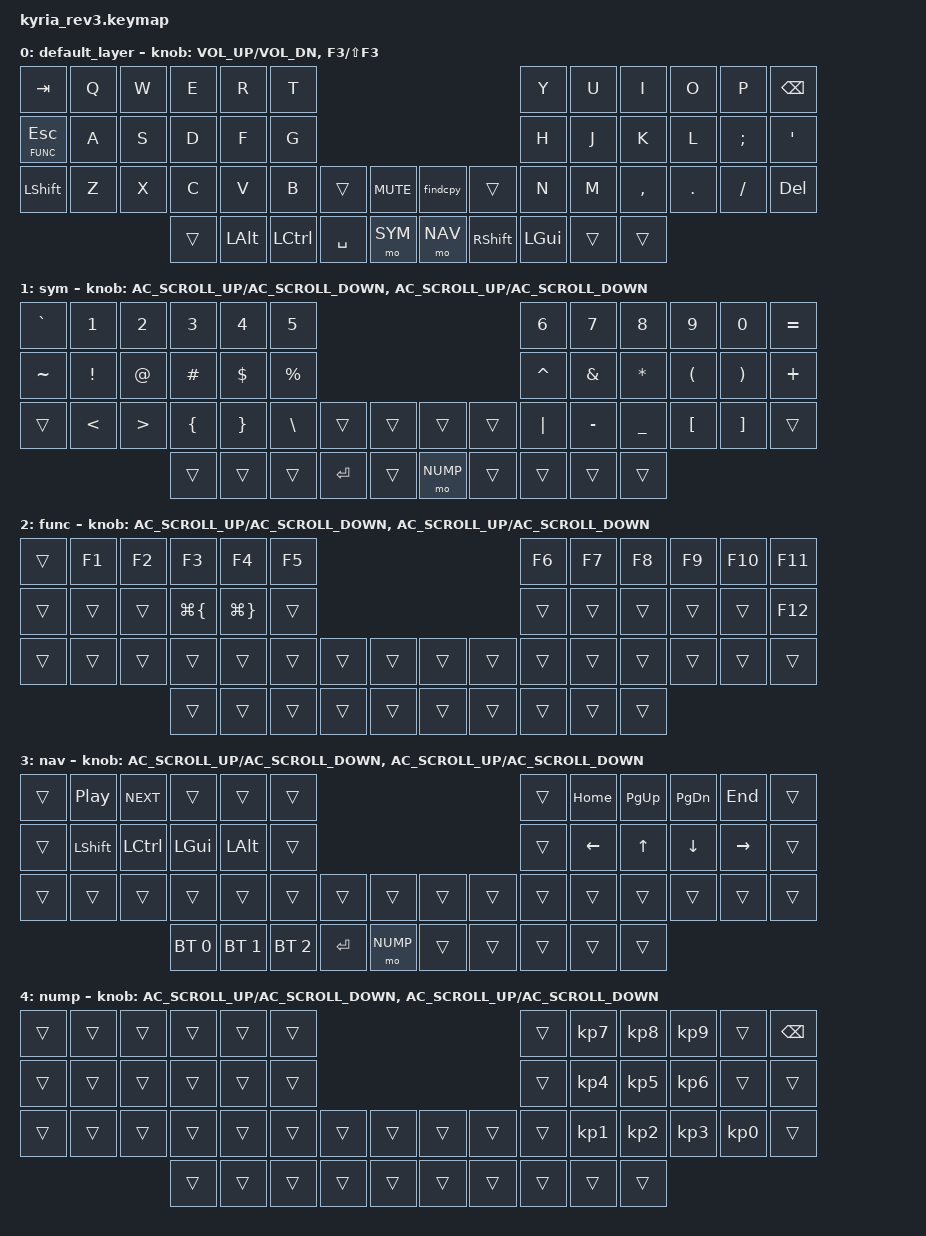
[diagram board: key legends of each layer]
/*
 * Copyright (c) 2023 The ZMK Contributors
 *
 * SPDX-License-Identifier: MIT
 */

#include <behaviors.dtsi>
#include <dt-bindings/zmk/keys.h>
#include <dt-bindings/zmk/bt.h>

#define DEFAULT 0
#define SYM 1
#define FUNC 2
#define NAV 3
#define NUMP 4


// Prevent the encoders from jumping twice
&left_encoder {
    steps = <38>;
};
//&right_encoder { resolution = <8>; };

/ {
    macros {
        // Control + C, F, V --> select, press, profit!
        // Note: default wait time is 100ms, which should work out fine
        findcpy: findcpy {
            label = "Copy-Find-Paste";
            compatible = "zmk,behavior-macro";
            #binding-cells = <0>;
            bindings
                = <&macro_tap &kp LC(C)>
                , <&macro_tap &kp LC(F)>
                , <&macro_tap &kp LC(V)>
                ;
        };
    };

    keymap {
        compatible = "zmk,keymap";

        default_layer {
            bindings = <
        // ╭───────────┬───────────┬───────────┬───────────┬───────────┬───────────╮                                                       ╭───────────┬───────────┬───────────┬───────────┬───────────┬───────────╮
            &kp TAB     &kp Q       &kp W       &kp E       &kp R       &kp T                                                               &kp Y       &kp U       &kp I       &kp O       &kp P       &kp BACKSPACE
        // ├───────────┼───────────┼───────────┼───────────┼───────────┼───────────┤                                                       ├───────────┼───────────┼───────────┼───────────┼───────────┼───────────┤
            &lt FUNC ESC &kp A      &kp S       &kp D       &kp F       &kp G                                                               &kp H       &kp J       &kp K       &kp L       &kp SEMI    &kp SINGLE_QUOTE
        // ├───────────┼───────────┼───────────┼───────────┼───────────┼───────────┼───────────┬───────────╮       ╭───────────┬───────────┼───────────┼───────────┼───────────┼───────────┼───────────┼───────────┤
            &kp LSHIFT  &kp Z       &kp X       &kp C       &kp V       &kp B       &trans      &kp C_MUTE          &findcpy    &trans      &kp N       &kp M       &kp COMMA   &kp DOT     &kp SLASH   &kp DELETE
        // ╰───────────┴───────────┴───────────┼───────────┼───────────┼───────────┼───────────┼───────────┤       ├───────────┼───────────┼───────────┼───────────┼───────────┼───────────┴───────────┴───────────╯
                                                &trans      &kp LALT    &kp LCTRL   &kp SPACE   &mo SYM             &mo NAV     &kp RSHIFT  &kp LGUI    &trans      &trans
        //                                     ╰───────────┴───────────┴───────────┴───────────┴───────────╯       ╰───────────┴───────────┴───────────┴───────────┴───────────╯
            >;

            // Invert for L only
            // Left: Volume up / down, Right: F3 / Shift F3
            sensor-bindings = <&inc_dec_kp C_VOL_UP C_VOL_DN &inc_dec_kp F3 LS(F3)>;
        };

        sym {
          bindings = <
        // ╭───────────┬───────────┬───────────┬───────────┬───────────┬───────────╮                                                       ╭───────────┬───────────┬───────────┬───────────┬───────────┬───────────╮
            &kp GRAVE   &kp N1      &kp N2      &kp N3      &kp N4      &kp N5                                                              &kp N6      &kp N7      &kp N8      &kp N9      &kp N0      &kp EQUAL
        // ├───────────┼───────────┼───────────┼───────────┼───────────┼───────────┤                                                       ├───────────┼───────────┼───────────┼───────────┼───────────┼───────────┤
            &kp TILDE   &kp EXCL    &kp AT      &kp HASH    &kp DOLLAR  &kp PERCENT                                                         &kp CARET   &kp AMPS    &kp ASTRK   &kp LPAR    &kp RPAR    &kp PLUS
        // ├───────────┼───────────┼───────────┼───────────┼───────────┼───────────┼───────────┬───────────╮       ╭───────────┬───────────┼───────────┼───────────┼───────────┼───────────┼───────────┼───────────┤
            &trans      &kp LT      &kp GT      &kp LBRC    &kp RBRC    &kp BSLH    &trans      &trans              &trans      &trans      &kp PIPE    &kp MINUS   &kp UNDER   &kp LBKT    &kp RBKT    &trans
        // ╰───────────┴───────────┴───────────┼───────────┼───────────┼───────────┼───────────┼───────────┤       ├───────────┼───────────┼───────────┼───────────┼───────────┼───────────┴───────────┴───────────╯
                                                &trans      &trans      &trans      &kp ENTER   &trans              &mo NUMP    &trans      &trans      &trans      &trans
        //                                     ╰───────────┴───────────┴───────────┴───────────┴───────────╯       ╰───────────┴───────────┴───────────┴───────────┴───────────╯
          >;
            // Scroll up/down
            sensor-bindings = <&inc_dec_kp C_AC_SCROLL_UP C_AC_SCROLL_DOWN &inc_dec_kp C_AC_SCROLL_UP C_AC_SCROLL_DOWN>;
        };
        
        func {
          bindings = <
        // ╭───────────┬───────────┬───────────┬───────────┬───────────┬───────────╮                                                       ╭───────────┬───────────┬───────────┬───────────┬───────────┬───────────╮
            &trans      &kp F1      &kp F2      &kp F3      &kp F4      &kp F5                                                              &kp F6      &kp F7      &kp F8      &kp F9      &kp F10      &kp F11
        // ├───────────┼───────────┼───────────┼───────────┼───────────┼───────────┤                                                       ├───────────┼───────────┼───────────┼───────────┼───────────┼───────────┤
            &trans      &trans      &trans      &kp LG(LBRC) &kp LG(RBRC) &trans                                                            &trans      &trans      &trans      &trans      &trans      &kp F12
        // ├───────────┼───────────┼───────────┼───────────┼───────────┼───────────┼───────────┬───────────╮       ╭───────────┬───────────┼───────────┼───────────┼───────────┼───────────┼───────────┼───────────┤
            &trans      &trans      &trans      &trans      &trans      &trans      &trans      &trans              &trans      &trans      &trans      &trans      &trans      &trans      &trans      &trans
        // ╰───────────┴───────────┴───────────┼───────────┼───────────┼───────────┼───────────┼───────────┤       ├───────────┼───────────┼───────────┼───────────┼───────────┼───────────┴───────────┴───────────╯
                                                &trans      &trans      &trans      &trans      &trans              &trans      &trans      &trans      &trans      &trans
        //                                     ╰───────────┴───────────┴───────────┴───────────┴───────────╯       ╰───────────┴───────────┴───────────┴───────────┴───────────╯
          >;
            // Scroll up/down
            sensor-bindings = <&inc_dec_kp C_AC_SCROLL_UP C_AC_SCROLL_DOWN &inc_dec_kp C_AC_SCROLL_UP C_AC_SCROLL_DOWN>;
        };
        
        nav {
          bindings = <
        // ╭───────────┬───────────┬───────────┬───────────┬───────────┬───────────╮                                                       ╭───────────┬───────────┬───────────┬───────────┬───────────┬───────────╮
            &trans      &kp C_PP    &kp C_NEXT  &trans      &trans      &trans                                                              &trans      &kp HOME    &kp PG_UP   &kp PG_DN   &kp END     &trans
        // ├───────────┼───────────┼───────────┼───────────┼───────────┼───────────┤                                                       ├───────────┼───────────┼───────────┼───────────┼───────────┼───────────┤
            &trans      &kp LSHIFT  &kp LCTRL   &kp LGUI    &kp LALT    &trans                                                              &trans      &kp LEFT    &kp UP      &kp DOWN    &kp RIGHT   &trans
        // ├───────────┼───────────┼───────────┼───────────┼───────────┼───────────┼───────────┬───────────╮       ╭───────────┬───────────┼───────────┼───────────┼───────────┼───────────┼───────────┼───────────┤
            &trans      &trans      &trans      &trans      &trans      &trans      &trans      &trans              &trans      &trans      &trans      &trans      &trans      &trans      &trans      &trans
        // ╰───────────┴───────────┴───────────┼───────────┼───────────┼───────────┼───────────┼───────────┤       ├───────────┼───────────┼───────────┼───────────┼───────────┼───────────┴───────────┴───────────╯
                                                &bt BT_SEL 0 &bt BT_SEL 1 &bt BT_SEL 2 &kp ENTER &mo NUMP           &trans      &trans      &trans      &trans      &trans
        //                                     ╰───────────┴───────────┴───────────┴───────────┴───────────╯       ╰───────────┴───────────┴───────────┴───────────┴───────────╯
          >;
            // Scroll up/down
            sensor-bindings = <&inc_dec_kp C_AC_SCROLL_UP C_AC_SCROLL_DOWN &inc_dec_kp C_AC_SCROLL_UP C_AC_SCROLL_DOWN>;
        };
        
        nump {
          bindings = <
        // ╭───────────┬───────────┬───────────┬───────────┬───────────┬───────────╮                                                       ╭───────────┬───────────┬───────────┬───────────┬───────────┬───────────╮
            &trans      &trans      &trans      &trans      &trans      &trans                                                              &trans      &kp KP_N7   &kp KP_N8   &kp KP_N9   &trans      &kp BACKSPACE
        // ├───────────┼───────────┼───────────┼───────────┼───────────┼───────────┤                                                       ├───────────┼───────────┼───────────┼───────────┼───────────┼───────────┤
            &trans      &trans      &trans      &trans      &trans      &trans                                                              &trans      &kp KP_N4   &kp KP_N5   &kp KP_N6   &trans      &trans
        // ├───────────┼───────────┼───────────┼───────────┼───────────┼───────────┼───────────┬───────────╮       ╭───────────┬───────────┼───────────┼───────────┼───────────┼───────────┼───────────┼───────────┤
            &trans      &trans      &trans      &trans      &trans      &trans      &trans      &trans              &trans      &trans      &trans      &kp KP_N1   &kp KP_N2   &kp KP_N3   &kp KP_N0   &trans
        // ╰───────────┴───────────┴───────────┼───────────┼───────────┼───────────┼───────────┼───────────┤       ├───────────┼───────────┼───────────┼───────────┼───────────┼───────────┴───────────┴───────────╯
                                                &trans      &trans      &trans      &trans      &trans              &trans      &trans      &trans      &trans      &trans
        //                                     ╰───────────┴───────────┴───────────┴───────────┴───────────╯       ╰───────────┴───────────┴───────────┴───────────┴───────────╯
          >;
            // Scroll up/down (pretty useless, both thumbs are pressed here)
            sensor-bindings = <&inc_dec_kp C_AC_SCROLL_UP C_AC_SCROLL_DOWN &inc_dec_kp C_AC_SCROLL_UP C_AC_SCROLL_DOWN>;
        };
    };
};
